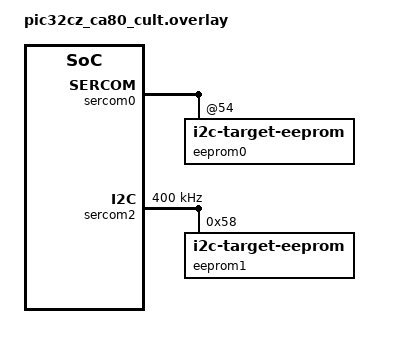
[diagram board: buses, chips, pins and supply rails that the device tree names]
/*
 * Copyright (c) 2026 Microchip Technology Inc.
 *
 * SPDX-License-Identifier: Apache-2.0
 */

/* Connect PC0 to PC8 (SDA), and PC1 to PC9 (SCL) */

&pinctrl {
	sercom2_i2c_default: sercom2_i2c_default {
		group1 {
			pinmux = <PC8D_SERCOM2_PAD0>,
				 <PC9D_SERCOM2_PAD1>;
		};
	};
};

&sercom0 {
	eeprom0: eeprom@54 {
		compatible = "zephyr,i2c-target-eeprom";
		reg = <0x54>;
		size = <256>;
	};
};

&sercom2 {
	compatible = "microchip,sercom-g1-i2c";
	#address-cells = <1>;
	#size-cells = <0>;
	clock-frequency = <I2C_BITRATE_FAST>;
	pinctrl-0 = <&sercom2_i2c_default>;
	pinctrl-names = "default";
	status = "okay";

	eeprom1: eeprom@58 {
		compatible = "zephyr,i2c-target-eeprom";
		reg = <0x58>;
		size = <256>;
	};
};
